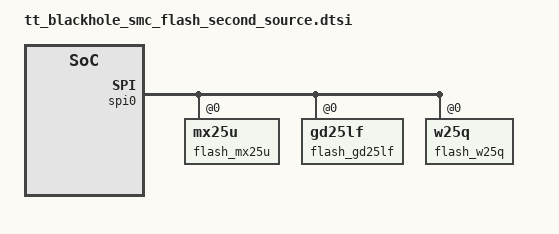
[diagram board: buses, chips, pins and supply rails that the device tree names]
/*
 * Copyright (c) 2026 Tenstorrent AI ULC
 *
 * SPDX-License-Identifier: Apache-2.0
 */

/*
 * Second-source flash support, for board revisions that fit parts other
 * than the MT25Q. Adds a fast candidate configuration for each of them to
 * the flash mux, ahead of its standard SPI fallback. Include from a board
 * revision overlay, before any partition adjustments.
 */

#include "tt_blackhole_smc_flash_mux.dtsi"

&spi0 {
	flash_mx25u: mx25u@0 {
		TT_SPI_FLASH_COMMON
		jedec-id = [c2 25 3a]; /* Macronix MX25U51245G */
		mspi-io-mode = "MSPI_IO_MODE_QUAD_1_4_4";
		/* Quad commands are ignored unless the non-volatile QE bit
		 * is set; it is written on first boot and only read
		 * thereafter.
		 */
		quad-enable-requirements = "S1B6";
		read-command = <0xec>;
		/* Fixed 6 cycles between address and data: a mode byte in
		 * the first 2, then 4 dummy cycles.
		 */
		rx-mode-cycles = <2>;
		rx-dummy = <4>;
		write-command = <0x3e>;
	};

	flash_gd25lf: gd25lf@0 {
		TT_SPI_FLASH_COMMON
		jedec-id = [c8 63 1a]; /* GigaDevice GD25LF512MF */
		mspi-io-mode = "MSPI_IO_MODE_QUAD_1_4_4";
		quad-enable-requirements = "NONE"; /* no QE bit */
		read-command = <0xec>;
		/* Factory-default read latency (DC=0 in SR3): a mode byte in
		 * the first 2 cycles, then 4 dummy cycles. A chip whose
		 * non-volatile DC bits were reconfigured for 8 or 10 cycles
		 * is not supported.
		 */
		rx-mode-cycles = <2>;
		rx-dummy = <4>;
		/* No 3Eh (1-4-4) page program; use 34h (1-1-4). Only the
		 * address phase is slower; page program time dominates.
		 */
		write-command = <0x34>;
		write-io-mode = "MSPI_IO_MODE_QUAD_1_1_4";
	};

	flash_w25q: w25q@0 {
		TT_SPI_FLASH_COMMON
		jedec-id = [ef 60 20]; /* Winbond W25Q51RW-Q/-N, W25Q512NW-IQ/IN */
		mspi-io-mode = "MSPI_IO_MODE_QUAD_1_4_4";
		/* QE is non-volatile and factory-set on the supported
		 * variants; the driver repairs a part that arrives with it
		 * cleared.
		 */
		quad-enable-requirements = "S2B1v6";
		read-command = <0xec>;
		/* A mode byte in the first 2 cycles, then 4 dummy cycles */
		rx-mode-cycles = <2>;
		rx-dummy = <4>;
		write-command = <0x34>; /* no 3Eh (1-4-4); 34h (1-1-4) */
		write-io-mode = "MSPI_IO_MODE_QUAD_1_1_4";
	};
};

&spi_flash {
	flash-devices = <&flash_mt25q &flash_mx25u &flash_gd25lf
			 &flash_w25q &flash_single_io>;
};
